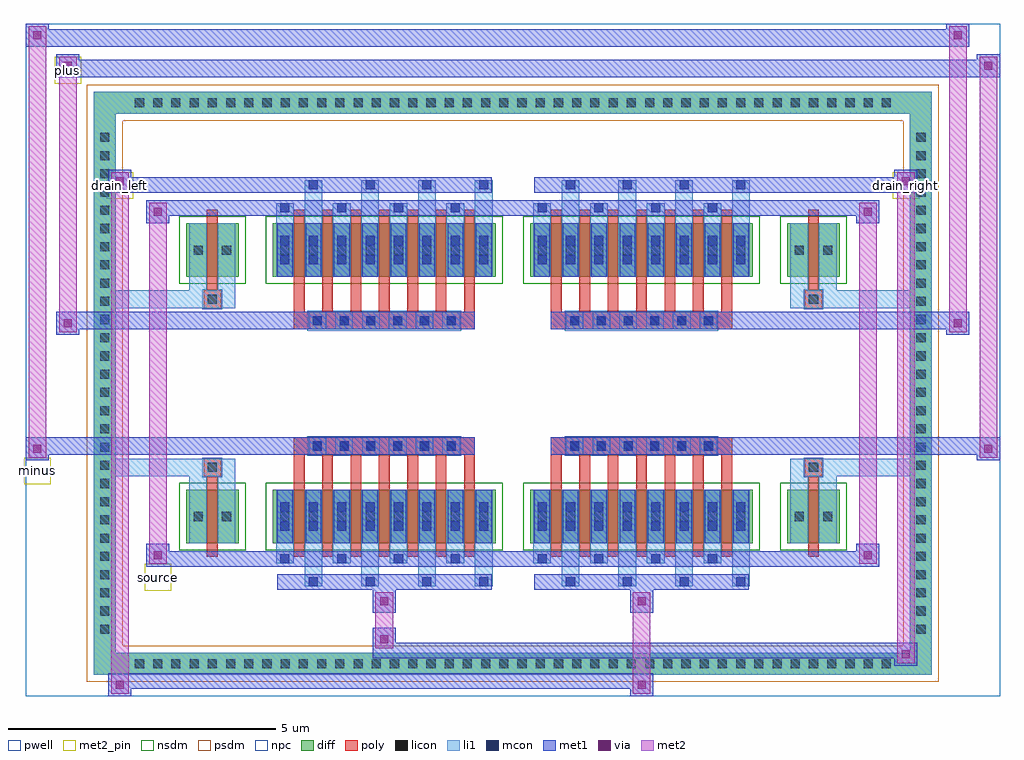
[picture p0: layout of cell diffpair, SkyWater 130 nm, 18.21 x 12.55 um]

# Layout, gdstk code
import gdstk
lib = gdstk.Library(unit=1e-6, precision=5e-09)
def R(c, l, rs):  # rectangles x0, y0, x1, y1
    for r in rs: c.add(gdstk.rectangle(r[:2], r[2:], *l))
def A(c, l, x, y, w, h, nx, ny, dx, dy):  # array of equal rectangles
    R(c, l, [(x+i*dx, y+j*dy, x+i*dx+w, y+j*dy+h) for i in range(nx) for j in range(ny)])
def P(c, l, *ps):  # polygons
    for p in ps: c.add(gdstk.Polygon(p, *l))
pwell = (64, 44)
diff = (65, 20)
poly = (66, 20)
licon = (66, 44)
li1 = (67, 20)
mcon = (67, 44)
met1 = (68, 20)
via = (68, 44)
met2_pin = (69, 16)
met2 = (69, 20)
nsdm = (93, 44)
psdm = (94, 20)
npc = (95, 20)

diffpair = lib.new_cell('diffpair')
R(diffpair, pwell, [(-9.09,-5.84,9.09,6.71), (-6.41,-4.03,-0.01,-0.805), (0.01,-4.03,6.41,-0.805), (-6.41,0.805,-0.01,4.03), (0.01,0.805,6.41,4.03)])
A(diffpair, diff, -7.175, -5.44, 0.41, 0.41, 42, 2, 0.34, 10.47)
A(diffpair, diff, -7.82, -4.795, 0.41, 0.41, 1, 28, 0, 0.34)
A(diffpair, diff, 7.41, -4.795, 0.41, 0.41, 1, 28, 0, 0.34)
R(diffpair, diff, [(-7.175,-5.44,7.175,-5.03), (-7.82,-4.795,-7.41,4.795), (7.41,-4.795,7.82,4.795), (-6.1,-2.985,-5.12,-1.985), (-4.48,-2.985,-0.32,-1.985), (0.32,-2.985,4.48,-1.985), (5.12,-2.985,6.1,-1.985), (-6.1,1.985,-5.12,2.985), (-4.48,1.985,-0.32,2.985), (0.32,1.985,4.48,2.985), (5.12,1.985,6.1,2.985), (-7.175,5.03,7.175,5.44)])
P(diffpair, diff, [(7.82,5.44),(-7.82,5.44),(-7.82,-5.03),(-7.41,-5.03),(-7.41,5.03),(7.41,5.03),(7.41,-5.03),(-7.41,-5.03),(-7.82,-5.03),(-7.82,-5.44),(7.82,-5.44)])
A(diffpair, poly, -4.09, -3.235, 0.2, 1.5, 7, 2, 0.53, 4.97)
A(diffpair, poly, 0.71, -3.235, 0.2, 1.5, 7, 2, 0.53, 4.97)
A(diffpair, poly, -4.09, -1.735, 0.2, 0.4, 7, 2, 0.53, 3.07)
A(diffpair, poly, 0.71, -1.735, 0.2, 0.4, 7, 2, 0.53, 3.07)
A(diffpair, poly, -3.815, -1.335, 0.33, 0.33, 6, 2, 0.5, 2.34)
A(diffpair, poly, 0.985, -1.335, 0.33, 0.33, 6, 2, 0.5, 2.34)
R(diffpair, poly, [(-5.71,-3.235,-5.51,-1.735), (5.51,-3.235,5.71,-1.735), (-5.775,-1.735,-5.445,-1.405), (-5.775,-1.735,-5.445,-1.405), (5.445,-1.735,5.775,-1.405), (5.445,-1.735,5.775,-1.405), (-4.09,-1.335,-0.71,-1.005), (0.71,-1.335,4.09,-1.005), (-4.09,1.005,-0.71,1.335), (0.71,1.005,4.09,1.335), (-5.775,1.405,-5.445,1.735), (-5.775,1.405,-5.445,1.735), (5.445,1.405,5.775,1.735), (5.445,1.405,5.775,1.735), (-5.71,1.735,-5.51,3.235), (5.51,1.735,5.71,3.235)])
A(diffpair, licon, -7.055, -5.32, 0.17, 0.17, 42, 2, 0.34, 10.47)
A(diffpair, licon, -7.7, -4.675, 0.17, 0.17, 1, 28, 0, 0.34)
A(diffpair, licon, 7.53, -4.675, 0.17, 0.17, 1, 28, 0, 0.34)
A(diffpair, licon, -4.34, -2.57, 0.17, 0.17, 8, 2, 0.53, 4.97)
A(diffpair, licon, 0.46, -2.57, 0.17, 0.17, 8, 2, 0.53, 4.97)
A(diffpair, licon, -3.735, -1.255, 0.17, 0.17, 6, 2, 0.5, 2.34)
A(diffpair, licon, 1.065, -1.255, 0.17, 0.17, 6, 2, 0.5, 2.34)
R(diffpair, licon, [(-5.96,-2.57,-5.79,-2.4), (-5.43,-2.57,-5.26,-2.4), (5.26,-2.57,5.43,-2.4), (5.79,-2.57,5.96,-2.4), (-5.695,-1.655,-5.525,-1.485), (5.525,-1.655,5.695,-1.485), (-5.695,1.485,-5.525,1.655), (5.525,1.485,5.695,1.655), (-5.96,2.4,-5.79,2.57), (-5.43,2.4,-5.26,2.57), (5.26,2.4,5.43,2.57), (5.79,2.4,5.96,2.57)])
A(diffpair, li1, -7.135, -5.4, 0.33, 0.33, 42, 2, 0.34, 10.47)
A(diffpair, li1, -7.78, -4.755, 0.33, 0.33, 1, 28, 0, 0.34)
A(diffpair, li1, 7.45, -4.755, 0.33, 0.33, 1, 28, 0, 0.34)
A(diffpair, li1, -3.89, -3.79, 0.33, 0.805, 4, 2, 1.06, 6.775)
A(diffpair, li1, -3.81, -3.79, 0.17, 0.17, 4, 2, 1.06, 7.41)
A(diffpair, li1, 0.91, -3.79, 0.33, 0.805, 4, 2, 1.06, 6.775)
A(diffpair, li1, 0.99, -3.79, 0.17, 0.17, 4, 2, 1.06, 7.41)
A(diffpair, li1, -4.42, -3.36, 0.33, 0.375, 4, 2, 1.06, 6.345)
A(diffpair, li1, -4.34, -3.36, 0.17, 0.17, 4, 2, 1.06, 6.55)
A(diffpair, li1, 0.38, -3.36, 0.33, 0.375, 4, 2, 1.06, 6.345)
A(diffpair, li1, 0.46, -3.36, 0.17, 0.17, 4, 2, 1.06, 6.55)
A(diffpair, li1, -4.42, -2.985, 0.33, 1, 8, 2, 0.53, 4.97)
A(diffpair, li1, 0.38, -2.985, 0.33, 1, 8, 2, 0.53, 4.97)
A(diffpair, li1, -4.34, -2.75, 0.17, 0.17, 8, 2, 0.53, 0.36)
A(diffpair, li1, -4.34, -2.75, 0.17, 0.53, 8, 2, 0.53, 4.97)
A(diffpair, li1, 0.46, -2.75, 0.17, 0.17, 8, 2, 0.53, 0.36)
A(diffpair, li1, 0.46, -2.75, 0.17, 0.53, 8, 2, 0.53, 4.97)
A(diffpair, li1, -4.42, -2.65, 0.33, 0.33, 8, 2, 0.53, 4.97)
A(diffpair, li1, 0.38, -2.65, 0.33, 0.33, 8, 2, 0.53, 4.97)
A(diffpair, li1, -3.815, -1.335, 0.33, 0.33, 6, 2, 0.5, 2.34)
A(diffpair, li1, 0.985, -1.335, 0.33, 0.33, 6, 2, 0.5, 2.34)
A(diffpair, li1, -4.34, 2.22, 0.17, 0.17, 8, 2, 0.53, 0.36)
A(diffpair, li1, 0.46, 2.22, 0.17, 0.17, 8, 2, 0.53, 0.36)
R(diffpair, li1, [(-7.82,-5.44,-7.41,-5.03), (-7.82,-5.44,-7.41,-5.03), (-7.41,-5.44,7.41,-5.03), (7.41,-5.44,7.82,-5.03), (7.41,-5.44,7.82,-5.03), (-7.82,-5.03,-7.41,5.03), (7.41,-5.03,7.82,5.03), (-6.04,-2.985,-5.71,-1.985), (-5.51,-2.985,-5.18,-1.985), (5.18,-2.985,5.51,-1.985), (5.71,-2.985,6.04,-1.985), (-6.04,-2.65,-5.71,-2.32), (-5.51,-2.65,-5.18,-2.32), (5.18,-2.65,5.51,-2.32), (5.71,-2.65,6.04,-2.32), (-6.04,-1.985,-5.71,-1.405), (-5.51,-1.985,-5.18,-1.405), (5.18,-1.985,5.51,-1.405), (5.71,-1.985,6.04,-1.405), (-7.82,-1.735,-5.775,-1.405), (-6.04,-1.735,-5.775,-1.405), (-5.775,-1.735,-5.445,-1.405), (-5.445,-1.735,-5.18,-1.405), (5.18,-1.735,5.445,-1.405), (5.445,-1.735,5.775,-1.405), (5.445,-1.735,7.82,-1.405), (5.775,-1.735,6.04,-1.405), (-7.82,1.405,-5.775,1.735), (-6.04,1.405,-5.775,1.735), (-6.04,1.405,-5.71,1.985), (-5.775,1.405,-5.445,1.735), (-5.51,1.405,-5.18,1.985), (-5.445,1.405,-5.18,1.735), (5.18,1.405,5.445,1.735), (5.18,1.405,5.51,1.985), (5.445,1.405,5.775,1.735), (5.445,1.405,7.82,1.735), (5.71,1.405,6.04,1.985), (5.775,1.405,6.04,1.735), (-6.04,1.985,-5.71,2.985), (-5.51,1.985,-5.18,2.985), (5.18,1.985,5.51,2.985), (5.71,1.985,6.04,2.985), (-6.04,2.32,-5.71,2.65), (-5.51,2.32,-5.18,2.65), (5.18,2.32,5.51,2.65), (5.71,2.32,6.04,2.65), (-7.82,5.03,-7.41,5.44), (-7.82,5.03,-7.41,5.44), (-7.41,5.03,7.41,5.44), (7.41,5.03,7.82,5.44), (7.41,5.03,7.82,5.44)])
A(diffpair, mcon, -3.81, -3.79, 0.17, 0.17, 4, 2, 1.06, 7.41)
A(diffpair, mcon, 0.99, -3.79, 0.17, 0.17, 4, 2, 1.06, 7.41)
A(diffpair, mcon, -4.34, -3.36, 0.17, 0.17, 4, 2, 1.06, 6.55)
A(diffpair, mcon, 0.46, -3.36, 0.17, 0.17, 4, 2, 1.06, 6.55)
A(diffpair, mcon, -4.34, -2.75, 0.17, 0.17, 8, 2, 0.53, 0.36)
A(diffpair, mcon, 0.46, -2.75, 0.17, 0.17, 8, 2, 0.53, 0.36)
A(diffpair, mcon, -3.735, -1.255, 0.17, 0.17, 6, 2, 0.5, 2.34)
A(diffpair, mcon, 1.065, -1.255, 0.17, 0.17, 6, 2, 0.5, 2.34)
A(diffpair, mcon, -4.34, 2.22, 0.17, 0.17, 8, 2, 0.53, 0.36)
A(diffpair, mcon, 0.46, 2.22, 0.17, 0.17, 8, 2, 0.53, 0.36)
A(diffpair, met1, -3.87, -3.85, 0.29, 0.29, 4, 2, 1.06, 7.41)
A(diffpair, met1, 0.93, -3.85, 0.29, 0.29, 4, 2, 1.06, 7.41)
A(diffpair, met1, -4.4, -3.42, 0.29, 0.29, 4, 2, 1.06, 6.55)
A(diffpair, met1, 0.4, -3.42, 0.29, 0.29, 4, 2, 1.06, 6.55)
A(diffpair, met1, -4.4, -2.985, 0.29, 1, 8, 2, 0.53, 4.97)
A(diffpair, met1, 0.4, -2.985, 0.29, 1, 8, 2, 0.53, 4.97)
A(diffpair, met1, -4.4, -2.81, 0.29, 0.29, 8, 2, 0.53, 0.36)
A(diffpair, met1, 0.4, -2.81, 0.29, 0.29, 8, 2, 0.53, 0.36)
A(diffpair, met1, -3.795, -1.315, 0.29, 0.29, 6, 2, 0.5, 2.34)
A(diffpair, met1, 1.005, -1.315, 0.29, 0.29, 6, 2, 0.5, 2.34)
A(diffpair, met1, -4.4, 2.16, 0.29, 0.29, 8, 2, 0.53, 0.36)
A(diffpair, met1, 0.4, 2.16, 0.29, 0.29, 8, 2, 0.53, 0.36)
R(diffpair, met1, [(-7.55,-5.84,-7.12,-5.41), (2.185,-5.84,2.615,-5.41), (-7.55,-5.7,2.615,-5.41), (7.12,-5.27,7.55,-4.84), (-2.615,-5.13,7.55,-4.84), (-2.615,-4.99,-2.185,-4.56), (-2.615,-4.28,-2.185,-3.85), (2.185,-4.28,2.615,-3.85), (-4.4,-3.85,-0.4,-3.56), (0.4,-3.85,4.4,-3.56), (-6.84,-3.42,-6.41,-2.99), (-6.84,-3.42,-4.4,-3.13), (-4.4,-3.42,-0.4,-3.13), (-0.4,-3.42,0.4,-3.13), (0.4,-3.42,4.4,-3.13), (4.4,-3.42,6.84,-3.13), (6.41,-3.42,6.84,-2.99), (-9.09,-1.435,-8.66,-1.005), (8.66,-1.435,9.09,-1.005), (-9.09,-1.335,-0.71,-1.005), (-4.09,-1.335,-0.71,-1.005), (0.71,-1.335,4.09,-1.005), (0.71,-1.335,9.09,-1.005), (-8.52,0.905,-8.09,1.335), (8.09,0.905,8.52,1.335), (-8.52,1.005,-4.09,1.335), (-4.09,1.005,-0.71,1.335), (0.71,1.005,4.09,1.335), (4.09,1.005,8.52,1.335), (-6.84,2.99,-6.41,3.42), (6.41,2.99,6.84,3.42), (-6.84,3.13,-4.4,3.42), (-4.4,3.13,-0.4,3.42), (-0.4,3.13,0.4,3.42), (0.4,3.13,4.4,3.42), (4.4,3.13,6.84,3.42), (-7.55,3.56,-7.12,3.99), (-7.55,3.56,-4.4,3.85), (-4.4,3.56,-0.4,3.85), (0.4,3.56,4.4,3.85), (4.4,3.56,7.55,3.85), (7.12,3.56,7.55,3.99), (-8.52,5.71,-8.09,6.14), (-8.52,5.71,-6.41,6.04), (-6.41,5.71,6.41,6.04), (6.41,5.71,9.09,6.04), (8.66,5.71,9.09,6.14), (-9.09,6.28,-8.66,6.71), (-9.09,6.28,-6.41,6.61), (-6.41,6.28,6.41,6.61), (6.41,6.28,8.52,6.61), (8.09,6.28,8.52,6.71)])
R(diffpair, via, [(-7.41,-5.7,-7.26,-5.55), (2.325,-5.7,2.475,-5.55), (7.26,-5.13,7.41,-4.98), (-2.475,-4.85,-2.325,-4.7), (-2.475,-4.14,-2.325,-3.99), (2.325,-4.14,2.475,-3.99), (-6.7,-3.28,-6.55,-3.13), (6.55,-3.28,6.7,-3.13), (-8.95,-1.295,-8.8,-1.145), (8.8,-1.295,8.95,-1.145), (-8.38,1.045,-8.23,1.195), (8.23,1.045,8.38,1.195), (-6.7,3.13,-6.55,3.28), (6.55,3.13,6.7,3.28), (-7.41,3.7,-7.26,3.85), (7.26,3.7,7.41,3.85), (-8.38,5.85,-8.23,6), (8.8,5.85,8.95,6), (-8.95,6.42,-8.8,6.57), (8.23,6.42,8.38,6.57)])
R(diffpair, met2_pin, [(-6.875,-3.87,-6.375,-3.37), (-9.125,-1.885,-8.625,-1.385), (-7.585,3.44,-7.085,3.94), (7.085,3.44,7.585,3.94), (-8.555,5.59,-8.055,6.09)])
R(diffpair, met2, [(-7.5,-5.79,-7.17,-5.46), (-7.5,-5.79,-7.17,3.94), (2.235,-5.79,2.565,-5.46), (2.235,-5.46,2.565,-4.23), (7.17,-5.22,7.5,-4.89), (7.17,-5.22,7.5,3.94), (-2.565,-4.94,-2.235,-4.61), (-2.565,-4.61,-2.235,-4.23), (-2.565,-4.23,-2.235,-3.9), (2.235,-4.23,2.565,-3.9), (-6.79,-3.37,-6.46,-3.04), (-6.79,-3.37,-6.46,3.37), (6.46,-3.37,6.79,-3.04), (6.46,-3.37,6.79,3.37), (-9.04,-1.385,-8.71,-1.055), (-9.04,-1.385,-8.71,6.66), (8.71,-1.385,9.04,-1.055), (8.71,-1.385,9.04,6.09), (-8.47,0.955,-8.14,1.285), (-8.47,0.955,-8.14,6.09), (8.14,0.955,8.47,1.285), (8.14,0.955,8.47,6.66), (-6.79,3.04,-6.46,3.37), (6.46,3.04,6.79,3.37), (-7.5,3.61,-7.17,3.94), (7.17,3.61,7.5,3.94), (-8.47,5.76,-8.14,6.09), (8.71,5.76,9.04,6.09), (-9.04,6.33,-8.71,6.66), (8.14,6.33,8.47,6.66)])
P(diffpair, met2, [(9.04,-1.385),(9.04,-1.385),(9.04,-1.055),(9.04,-1.055)],
  [(9.04,5.76),(9.04,5.76),(9.04,6.09),(9.04,6.09)],
  [(-8.71,-1.385),(-8.71,-1.385),(-8.71,-1.055),(-8.71,-1.055)],
  [(-8.71,6.33),(-8.71,6.33),(-8.71,6.66),(-8.71,6.66)],
  [(8.47,0.955),(8.47,0.955),(8.47,1.285),(8.47,1.285)],
  [(8.47,6.33),(8.47,6.33),(8.47,6.66),(8.47,6.66)],
  [(-8.14,0.955),(-8.14,0.955),(-8.14,1.285),(-8.14,1.285)],
  [(-8.14,5.76),(-8.14,5.76),(-8.14,6.09),(-8.14,6.09)],
  [(-7.17,-5.79),(-7.17,-5.79),(-7.17,-5.46),(-7.17,-5.46)],
  [(-7.17,3.61),(-7.17,3.61),(-7.17,3.94),(-7.17,3.94)],
  [(7.5,-5.22),(7.5,-5.22),(7.5,-4.89),(7.5,-4.89)],
  [(7.5,3.61),(7.5,3.61),(7.5,3.94),(7.5,3.94)],
  [(-6.46,-3.37),(-6.46,-3.37),(-6.46,-3.04),(-6.46,-3.04)],
  [(-6.46,3.04),(-6.46,3.04),(-6.46,3.37),(-6.46,3.37)],
  [(6.79,-3.37),(6.79,-3.37),(6.79,-3.04),(6.79,-3.04)],
  [(6.79,3.04),(6.79,3.04),(6.79,3.37),(6.79,3.37)])
R(diffpair, nsdm, [(-6.23,-3.115,-4.99,-1.855), (-4.61,-3.115,-0.19,-1.855), (0.19,-3.115,4.61,-1.855), (4.99,-3.115,6.23,-1.855), (-6.23,1.855,-4.99,3.115), (-4.61,1.855,-0.19,3.115), (0.19,1.855,4.61,3.115), (4.99,1.855,6.23,3.115)])
P(diffpair, psdm, [(7.95,5.57),(-7.95,5.57),(-7.95,-4.9),(-7.28,-4.9),(-7.28,4.9),(7.28,4.9),(7.28,-4.9),(-7.28,-4.9),(-7.95,-4.9),(-7.95,-5.57),(7.95,-5.57)])
A(diffpair, npc, -3.835, -1.355, 0.37, 0.37, 6, 2, 0.5, 2.34)
A(diffpair, npc, 0.965, -1.355, 0.37, 0.37, 6, 2, 0.5, 2.34)
R(diffpair, npc, [(-5.795,-1.755,-5.425,-1.385), (5.425,-1.755,5.795,-1.385), (-3.835,-1.355,-2.965,-0.985), (-3.835,-1.355,-2.965,-0.985), (-3.335,-1.355,-2.465,-0.985), (-3.335,-1.355,-2.465,-0.985), (-2.835,-1.355,-1.965,-0.985), (-2.835,-1.355,-1.965,-0.985), (-2.335,-1.355,-1.465,-0.985), (-2.335,-1.355,-1.465,-0.985), (-1.835,-1.355,-0.965,-0.985), (-1.835,-1.355,-0.965,-0.985), (0.965,-1.355,1.835,-0.985), (0.965,-1.355,1.835,-0.985), (1.465,-1.355,2.335,-0.985), (1.465,-1.355,2.335,-0.985), (1.965,-1.355,2.835,-0.985), (1.965,-1.355,2.835,-0.985), (2.465,-1.355,3.335,-0.985), (2.465,-1.355,3.335,-0.985), (2.965,-1.355,3.835,-0.985), (2.965,-1.355,3.835,-0.985), (-3.835,0.985,-2.965,1.355), (-3.835,0.985,-2.965,1.355), (-3.335,0.985,-2.465,1.355), (-3.335,0.985,-2.465,1.355), (-2.835,0.985,-1.965,1.355), (-2.835,0.985,-1.965,1.355), (-2.335,0.985,-1.465,1.355), (-2.335,0.985,-1.465,1.355), (-1.835,0.985,-0.965,1.355), (-1.835,0.985,-0.965,1.355), (0.965,0.985,1.835,1.355), (0.965,0.985,1.835,1.355), (1.465,0.985,2.335,1.355), (1.465,0.985,2.335,1.355), (1.965,0.985,2.835,1.355), (1.965,0.985,2.835,1.355), (2.465,0.985,3.335,1.355), (2.465,0.985,3.335,1.355), (2.965,0.985,3.835,1.355), (2.965,0.985,3.835,1.355), (-5.795,1.385,-5.425,1.755), (5.425,1.385,5.795,1.755)])
diffpair.add(gdstk.Label('minus', (-8.875,-1.635), layer=69, texttype=5))
diffpair.add(gdstk.Label('drain_right', (7.335,3.69), layer=69, texttype=5))
diffpair.add(gdstk.Label('drain_left', (-7.335,3.69), layer=69, texttype=5))
diffpair.add(gdstk.Label('source', (-6.625,-3.62), layer=69, texttype=5))
diffpair.add(gdstk.Label('plus', (-8.305,5.84), layer=69, texttype=5))

lib.write_gds('diffpair.gds')
